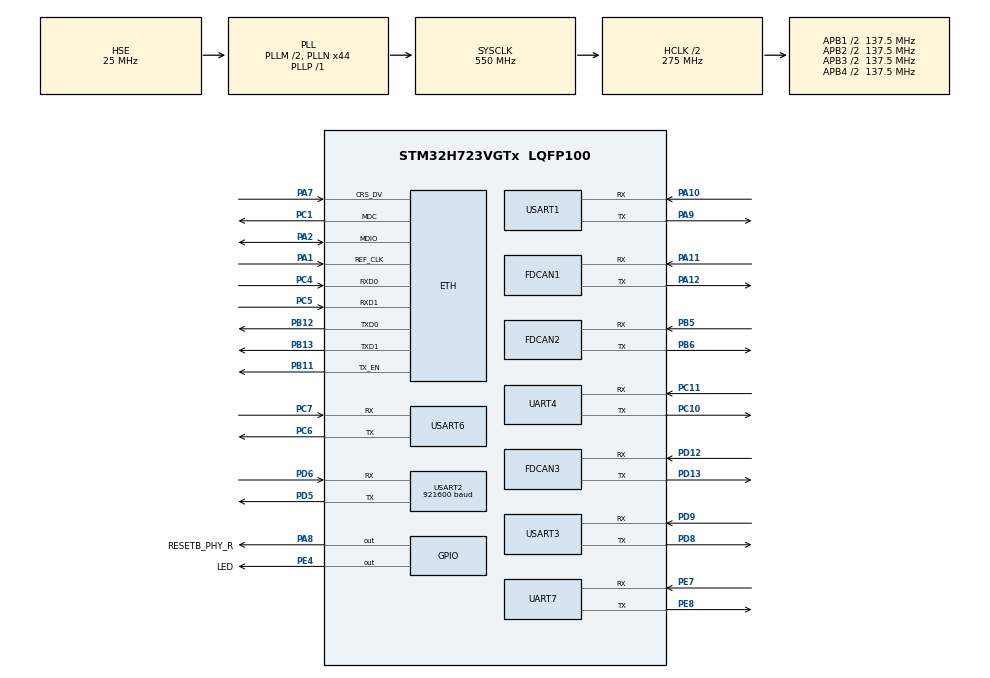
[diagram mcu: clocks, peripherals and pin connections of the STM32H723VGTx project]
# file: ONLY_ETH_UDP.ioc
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CORTEX_M7.AccessPermission_S-Cortex_Memory_Protection_Unit_Region1_Settings_S=MPU_REGION_FULL_ACCESS
CORTEX_M7.AccessPermission_Spec=MPU_REGION_FULL_ACCESS
CORTEX_M7.BaseAddress_S-Cortex_Memory_Protection_Unit_Region1_Settings_S=0x30004000
CORTEX_M7.BaseAddress_Spec=0x30000000
CORTEX_M7.CPU_DCache=Enabled
CORTEX_M7.CPU_ICache=Enabled
CORTEX_M7.DisableExec_S-Cortex_Memory_Protection_Unit_Region1_Settings_S=MPU_INSTRUCTION_ACCESS_ENABLE
CORTEX_M7.DisableExec_Spec=MPU_INSTRUCTION_ACCESS_ENABLE
CORTEX_M7.Enable_S-Cortex_Memory_Protection_Unit_Region1_Settings_S=MPU_REGION_ENABLE
CORTEX_M7.IsBufferable_S-Cortex_Memory_Protection_Unit_Region1_Settings_S=MPU_ACCESS_NOT_BUFFERABLE
CORTEX_M7.IsBufferable_Spec=MPU_ACCESS_BUFFERABLE
CORTEX_M7.IsCacheable_S-Cortex_Memory_Protection_Unit_Region1_Settings_S=MPU_ACCESS_NOT_CACHEABLE
CORTEX_M7.IsCacheable_Spec=MPU_ACCESS_NOT_CACHEABLE
CORTEX_M7.IsShareable_S-Cortex_Memory_Protection_Unit_Region1_Settings_S=MPU_ACCESS_SHAREABLE
CORTEX_M7.IsShareable_Spec=MPU_ACCESS_NOT_SHAREABLE
CORTEX_M7.MPU_Control=MPU_HFNMI_PRIVDEF
CORTEX_M7.Size_S-Cortex_Memory_Protection_Unit_Region1_Settings_S=MPU_REGION_SIZE_16KB
CORTEX_M7.Size_Spec=MPU_REGION_SIZE_256B
CORTEX_M7.SubRegionDisable_Spec=0x00
CORTEX_M7.TypeExtField_S-Cortex_Memory_Protection_Unit_Region1_Settings_S=MPU_TEX_LEVEL1
CORTEX_M7.TypeExtField_Spec=MPU_TEX_LEVEL0
CORTEX_M7.default_mode_Activation=1
Dma.Request0=USART1_RX
Dma.Request1=USART1_TX
Dma.Request10=UART7_RX
Dma.Request11=UART7_TX
Dma.Request2=USART2_RX
Dma.Request3=USART2_TX
Dma.Request4=USART3_RX
Dma.Request5=USART3_TX
Dma.Request6=USART6_RX
Dma.Request7=USART6_TX
Dma.Request8=UART4_RX
Dma.Request9=UART4_TX
Dma.UART4_RX.8.Direction=DMA_PERIPH_TO_MEMORY
Dma.UART4_RX.8.EventEnable=DISABLE
Dma.UART4_RX.8.FIFOMode=DMA_FIFOMODE_DISABLE
Dma.UART4_RX.8.Instance=DMA2_Stream0
Dma.UART4_RX.8.MemDataAlignment=DMA_MDATAALIGN_BYTE
Dma.UART4_RX.8.MemInc=DMA_MINC_ENABLE
Dma.UART4_RX.8.Mode=DMA_NORMAL
Dma.UART4_RX.8.PeriphDataAlignment=DMA_PDATAALIGN_BYTE
Dma.UART4_RX.8.PeriphInc=DMA_PINC_DISABLE
Dma.UART4_RX.8.Polarity=HAL_DMAMUX_REQ_GEN_RISING
Dma.UART4_RX.8.Priority=DMA_PRIORITY_LOW
Dma.UART4_RX.8.RequestNumber=1
Dma.UART4_RX.8.SignalID=NONE
Dma.UART4_RX.8.SyncEnable=DISABLE
Dma.UART4_RX.8.SyncPolarity=HAL_DMAMUX_SYNC_NO_EVENT
Dma.UART4_RX.8.SyncRequestNumber=1
Dma.UART4_RX.8.SyncSignalID=NONE
Dma.UART4_TX.9.Direction=DMA_MEMORY_TO_PERIPH
Dma.UART4_TX.9.EventEnable=DISABLE
Dma.UART4_TX.9.FIFOMode=DMA_FIFOMODE_DISABLE
Dma.UART4_TX.9.Instance=DMA2_Stream1
Dma.UART4_TX.9.MemDataAlignment=DMA_MDATAALIGN_BYTE
Dma.UART4_TX.9.MemInc=DMA_MINC_ENABLE
Dma.UART4_TX.9.Mode=DMA_NORMAL
Dma.UART4_TX.9.PeriphDataAlignment=DMA_PDATAALIGN_BYTE
Dma.UART4_TX.9.PeriphInc=DMA_PINC_DISABLE
Dma.UART4_TX.9.Polarity=HAL_DMAMUX_REQ_GEN_RISING
Dma.UART4_TX.9.Priority=DMA_PRIORITY_LOW
Dma.UART4_TX.9.RequestNumber=1
Dma.UART4_TX.9.SignalID=NONE
Dma.UART4_TX.9.SyncEnable=DISABLE
Dma.UART4_TX.9.SyncPolarity=HAL_DMAMUX_SYNC_NO_EVENT
Dma.UART4_TX.9.SyncRequestNumber=1
Dma.UART4_TX.9.SyncSignalID=NONE
Dma.UART7_RX.10.Direction=DMA_PERIPH_TO_MEMORY
Dma.UART7_RX.10.EventEnable=DISABLE
Dma.UART7_RX.10.FIFOMode=DMA_FIFOMODE_DISABLE
Dma.UART7_RX.10.Instance=DMA2_Stream2
Dma.UART7_RX.10.MemDataAlignment=DMA_MDATAALIGN_BYTE
Dma.UART7_RX.10.MemInc=DMA_MINC_ENABLE
Dma.UART7_RX.10.Mode=DMA_NORMAL
Dma.UART7_RX.10.PeriphDataAlignment=DMA_PDATAALIGN_BYTE
Dma.UART7_RX.10.PeriphInc=DMA_PINC_DISABLE
Dma.UART7_RX.10.Polarity=HAL_DMAMUX_REQ_GEN_RISING
Dma.UART7_RX.10.Priority=DMA_PRIORITY_LOW
Dma.UART7_RX.10.RequestNumber=1
Dma.UART7_RX.10.SignalID=NONE
Dma.UART7_RX.10.SyncEnable=DISABLE
Dma.UART7_RX.10.SyncPolarity=HAL_DMAMUX_SYNC_NO_EVENT
Dma.UART7_RX.10.SyncRequestNumber=1
Dma.UART7_RX.10.SyncSignalID=NONE
Dma.UART7_TX.11.Direction=DMA_MEMORY_TO_PERIPH
Dma.UART7_TX.11.EventEnable=DISABLE
Dma.UART7_TX.11.FIFOMode=DMA_FIFOMODE_DISABLE
Dma.UART7_TX.11.Instance=DMA2_Stream3
Dma.UART7_TX.11.MemDataAlignment=DMA_MDATAALIGN_BYTE
Dma.UART7_TX.11.MemInc=DMA_MINC_ENABLE
Dma.UART7_TX.11.Mode=DMA_NORMAL
Dma.UART7_TX.11.PeriphDataAlignment=DMA_PDATAALIGN_BYTE
Dma.UART7_TX.11.PeriphInc=DMA_PINC_DISABLE
Dma.UART7_TX.11.Polarity=HAL_DMAMUX_REQ_GEN_RISING
Dma.UART7_TX.11.Priority=DMA_PRIORITY_LOW
Dma.UART7_TX.11.RequestNumber=1
Dma.UART7_TX.11.SignalID=NONE
Dma.UART7_TX.11.SyncEnable=DISABLE
Dma.UART7_TX.11.SyncPolarity=HAL_DMAMUX_SYNC_NO_EVENT
Dma.UART7_TX.11.SyncRequestNumber=1
Dma.UART7_TX.11.SyncSignalID=NONE
Dma.USART1_RX.0.Direction=DMA_PERIPH_TO_MEMORY
Dma.USART1_RX.0.EventEnable=DISABLE
Dma.USART1_RX.0.FIFOMode=DMA_FIFOMODE_DISABLE
Dma.USART1_RX.0.Instance=DMA1_Stream0
Dma.USART1_RX.0.MemDataAlignment=DMA_MDATAALIGN_BYTE
Dma.USART1_RX.0.MemInc=DMA_MINC_ENABLE
Dma.USART1_RX.0.Mode=DMA_NORMAL
Dma.USART1_RX.0.PeriphDataAlignment=DMA_PDATAALIGN_BYTE
Dma.USART1_RX.0.PeriphInc=DMA_PINC_DISABLE
Dma.USART1_RX.0.Polarity=HAL_DMAMUX_REQ_GEN_RISING
Dma.USART1_RX.0.Priority=DMA_PRIORITY_LOW
Dma.USART1_RX.0.RequestNumber=1
Dma.USART1_RX.0.SignalID=NONE
Dma.USART1_RX.0.SyncEnable=DISABLE
Dma.USART1_RX.0.SyncPolarity=HAL_DMAMUX_SYNC_NO_EVENT
Dma.USART1_RX.0.SyncRequestNumber=1
Dma.USART1_RX.0.SyncSignalID=NONE
Dma.USART1_TX.1.Direction=DMA_MEMORY_TO_PERIPH
Dma.USART1_TX.1.EventEnable=DISABLE
Dma.USART1_TX.1.FIFOMode=DMA_FIFOMODE_DISABLE
Dma.USART1_TX.1.Instance=DMA1_Stream1
Dma.USART1_TX.1.MemDataAlignment=DMA_MDATAALIGN_BYTE
Dma.USART1_TX.1.MemInc=DMA_MINC_ENABLE
Dma.USART1_TX.1.Mode=DMA_NORMAL
Dma.USART1_TX.1.PeriphDataAlignment=DMA_PDATAALIGN_BYTE
Dma.USART1_TX.1.PeriphInc=DMA_PINC_DISABLE
Dma.USART1_TX.1.Polarity=HAL_DMAMUX_REQ_GEN_RISING
Dma.USART1_TX.1.Priority=DMA_PRIORITY_LOW
Dma.USART1_TX.1.RequestNumber=1
Dma.USART1_TX.1.SignalID=NONE
Dma.USART1_TX.1.SyncEnable=DISABLE
Dma.USART1_TX.1.SyncPolarity=HAL_DMAMUX_SYNC_NO_EVENT
Dma.USART1_TX.1.SyncRequestNumber=1
Dma.USART1_TX.1.SyncSignalID=NONE
Dma.USART2_RX.2.Direction=DMA_PERIPH_TO_MEMORY
Dma.USART2_RX.2.EventEnable=DISABLE
Dma.USART2_RX.2.FIFOMode=DMA_FIFOMODE_DISABLE
Dma.USART2_RX.2.Instance=DMA1_Stream2
Dma.USART2_RX.2.MemDataAlignment=DMA_MDATAALIGN_BYTE
Dma.USART2_RX.2.MemInc=DMA_MINC_ENABLE
Dma.USART2_RX.2.Mode=DMA_NORMAL
Dma.USART2_RX.2.PeriphDataAlignment=DMA_PDATAALIGN_BYTE
Dma.USART2_RX.2.PeriphInc=DMA_PINC_DISABLE
Dma.USART2_RX.2.Polarity=HAL_DMAMUX_REQ_GEN_RISING
Dma.USART2_RX.2.Priority=DMA_PRIORITY_LOW
Dma.USART2_RX.2.RequestNumber=1
Dma.USART2_RX.2.SignalID=NONE
Dma.USART2_RX.2.SyncEnable=DISABLE
Dma.USART2_RX.2.SyncPolarity=HAL_DMAMUX_SYNC_NO_EVENT
Dma.USART2_RX.2.SyncRequestNumber=1
Dma.USART2_RX.2.SyncSignalID=NONE
Dma.USART2_TX.3.Direction=DMA_MEMORY_TO_PERIPH
Dma.USART2_TX.3.EventEnable=DISABLE
Dma.USART2_TX.3.FIFOMode=DMA_FIFOMODE_DISABLE
Dma.USART2_TX.3.Instance=DMA1_Stream3
Dma.USART2_TX.3.MemDataAlignment=DMA_MDATAALIGN_BYTE
Dma.USART2_TX.3.MemInc=DMA_MINC_ENABLE
Dma.USART2_TX.3.Mode=DMA_NORMAL
Dma.USART2_TX.3.PeriphDataAlignment=DMA_PDATAALIGN_BYTE
Dma.USART2_TX.3.PeriphInc=DMA_PINC_DISABLE
Dma.USART2_TX.3.Polarity=HAL_DMAMUX_REQ_GEN_RISING
Dma.USART2_TX.3.Priority=DMA_PRIORITY_LOW
Dma.USART2_TX.3.RequestNumber=1
Dma.USART2_TX.3.SignalID=NONE
Dma.USART2_TX.3.SyncEnable=DISABLE
Dma.USART2_TX.3.SyncPolarity=HAL_DMAMUX_SYNC_NO_EVENT
Dma.USART2_TX.3.SyncRequestNumber=1
Dma.USART2_TX.3.SyncSignalID=NONE
Dma.USART3_RX.4.Direction=DMA_PERIPH_TO_MEMORY
Dma.USART3_RX.4.EventEnable=DISABLE
Dma.USART3_RX.4.FIFOMode=DMA_FIFOMODE_DISABLE
Dma.USART3_RX.4.Instance=DMA1_Stream4
Dma.USART3_RX.4.MemDataAlignment=DMA_MDATAALIGN_BYTE
Dma.USART3_RX.4.MemInc=DMA_MINC_ENABLE
Dma.USART3_RX.4.Mode=DMA_NORMAL
Dma.USART3_RX.4.PeriphDataAlignment=DMA_PDATAALIGN_BYTE
Dma.USART3_RX.4.PeriphInc=DMA_PINC_DISABLE
Dma.USART3_RX.4.Polarity=HAL_DMAMUX_REQ_GEN_RISING
Dma.USART3_RX.4.Priority=DMA_PRIORITY_LOW
Dma.USART3_RX.4.RequestNumber=1
Dma.USART3_RX.4.SignalID=NONE
Dma.USART3_RX.4.SyncEnable=DISABLE
Dma.USART3_RX.4.SyncPolarity=HAL_DMAMUX_SYNC_NO_EVENT
Dma.USART3_RX.4.SyncRequestNumber=1
Dma.USART3_RX.4.SyncSignalID=NONE
Dma.USART3_TX.5.Direction=DMA_MEMORY_TO_PERIPH
Dma.USART3_TX.5.EventEnable=DISABLE
Dma.USART3_TX.5.FIFOMode=DMA_FIFOMODE_DISABLE
Dma.USART3_TX.5.Instance=DMA1_Stream5
Dma.USART3_TX.5.MemDataAlignment=DMA_MDATAALIGN_BYTE
Dma.USART3_TX.5.MemInc=DMA_MINC_ENABLE
Dma.USART3_TX.5.Mode=DMA_NORMAL
Dma.USART3_TX.5.PeriphDataAlignment=DMA_PDATAALIGN_BYTE
Dma.USART3_TX.5.PeriphInc=DMA_PINC_DISABLE
Dma.USART3_TX.5.Polarity=HAL_DMAMUX_REQ_GEN_RISING
Dma.USART3_TX.5.Priority=DMA_PRIORITY_LOW
Dma.USART3_TX.5.RequestNumber=1
Dma.USART3_TX.5.SignalID=NONE
Dma.USART3_TX.5.SyncEnable=DISABLE
Dma.USART3_TX.5.SyncPolarity=HAL_DMAMUX_SYNC_NO_EVENT
Dma.USART3_TX.5.SyncRequestNumber=1
Dma.USART3_TX.5.SyncSignalID=NONE
Dma.USART6_RX.6.Direction=DMA_PERIPH_TO_MEMORY
Dma.USART6_RX.6.EventEnable=DISABLE
Dma.USART6_RX.6.FIFOMode=DMA_FIFOMODE_DISABLE
Dma.USART6_RX.6.Instance=DMA1_Stream6
Dma.USART6_RX.6.MemDataAlignment=DMA_MDATAALIGN_BYTE
Dma.USART6_RX.6.MemInc=DMA_MINC_ENABLE
Dma.USART6_RX.6.Mode=DMA_NORMAL
Dma.USART6_RX.6.PeriphDataAlignment=DMA_PDATAALIGN_BYTE
Dma.USART6_RX.6.PeriphInc=DMA_PINC_DISABLE
Dma.USART6_RX.6.Polarity=HAL_DMAMUX_REQ_GEN_RISING
Dma.USART6_RX.6.Priority=DMA_PRIORITY_LOW
Dma.USART6_RX.6.RequestNumber=1
Dma.USART6_RX.6.SignalID=NONE
Dma.USART6_RX.6.SyncEnable=DISABLE
Dma.USART6_RX.6.SyncPolarity=HAL_DMAMUX_SYNC_NO_EVENT
Dma.USART6_RX.6.SyncRequestNumber=1
Dma.USART6_RX.6.SyncSignalID=NONE
Dma.USART6_TX.7.Direction=DMA_MEMORY_TO_PERIPH
Dma.USART6_TX.7.EventEnable=DISABLE
Dma.USART6_TX.7.FIFOMode=DMA_FIFOMODE_DISABLE
Dma.USART6_TX.7.Instance=DMA1_Stream7
Dma.USART6_TX.7.MemDataAlignment=DMA_MDATAALIGN_BYTE
Dma.USART6_TX.7.MemInc=DMA_MINC_ENABLE
Dma.USART6_TX.7.Mode=DMA_NORMAL
Dma.USART6_TX.7.PeriphDataAlignment=DMA_PDATAALIGN_BYTE
Dma.USART6_TX.7.PeriphInc=DMA_PINC_DISABLE
Dma.USART6_TX.7.Polarity=HAL_DMAMUX_REQ_GEN_RISING
Dma.USART6_TX.7.Priority=DMA_PRIORITY_LOW
Dma.USART6_TX.7.RequestNumber=1
Dma.USART6_TX.7.SignalID=NONE
Dma.USART6_TX.7.SyncEnable=DISABLE
Dma.USART6_TX.7.SyncPolarity=HAL_DMAMUX_SYNC_NO_EVENT
Dma.USART6_TX.7.SyncRequestNumber=1
Dma.USART6_TX.7.SyncSignalID=NONE
ETH.MACAddr=00\:80\:E1\:12\:34\:56
ETH.MediaInterface=HAL_ETH_RMII_MODE
ETH.RxBufferAddress=0x30000200
ETH.RxDescAddress=0x30000000
ETH.TxDescAddress=0x30000060
FDCAN1.AutoRetransmission=ENABLE
FDCAN1.CalculateBaudRateNominal=1000000
FDCAN1.CalculateTimeBitNominal=1000
FDCAN1.CalculateTimeQuantumNominal=40.0
FDCAN1.DataSyncJumpWidth=6
FDCAN1.DataTimeSeg1=18
FDCAN1.DataTimeSeg2=6
FDCAN1.NominalPrescaler=1
FDCAN1.NominalSyncJumpWidth=6
FDCAN1.NominalTimeSeg1=18
FDCAN1.NominalTimeSeg2=6
FDCAN1.RxFifo0ElmtsNbr=4
FDCAN1.StdFiltersNbr=1
FDCAN1.TxBuffersNbr=16
FDCAN1.TxFifoQueueElmtsNbr=16
FDCAN2.AutoRetransmission=ENABLE
FDCAN2.CalculateBaudRateNominal=1000000
FDCAN2.CalculateTimeBitNominal=1000
FDCAN2.CalculateTimeQuantumNominal=40.0
FDCAN2.DataSyncJumpWidth=6
FDCAN2.DataTimeSeg1=18
FDCAN2.DataTimeSeg2=6
FDCAN2.MessageRAMOffset=800
FDCAN2.NominalPrescaler=1
FDCAN2.NominalSyncJumpWidth=6
FDCAN2.NominalTimeSeg1=18
FDCAN2.NominalTimeSeg2=6
FDCAN2.RxFifo0ElmtsNbr=4
FDCAN2.StdFiltersNbr=1
FDCAN2.TxBuffersNbr=16
FDCAN2.TxFifoQueueElmtsNbr=16
FDCAN3.AutoRetransmission=ENABLE
FDCAN3.CalculateBaudRateNominal=1000000
FDCAN3.CalculateTimeBitNominal=1000
FDCAN3.CalculateTimeQuantumNominal=40.0
FDCAN3.DataSyncJumpWidth=6
FDCAN3.DataTimeSeg1=18
FDCAN3.DataTimeSeg2=6
FDCAN3.MessageRAMOffset=1600
FDCAN3.NominalPrescaler=1
FDCAN3.NominalSyncJumpWidth=6
FDCAN3.NominalTimeSeg1=18
FDCAN3.NominalTimeSeg2=6
FDCAN3.RxFifo0ElmtsNbr=4
FDCAN3.StdFiltersNbr=1
FDCAN3.TxBuffersNbr=16
FDCAN3.TxFifoQueueElmtsNbr=16
FREERTOS.HEAP_NUMBER=4
FREERTOS.Tasks01=Task1,0,3840,task1,Default,NULL,Dynamic,NULL,NULL;Task2,-2,1024,task2,Default,NULL,Dynamic,NULL,NULL;Task3,-2,1024,task3,Default,NULL,Dynamic,NULL,NULL
FREERTOS.configCHECK_FOR_STACK_OVERFLOW=2
FREERTOS.configTOTAL_HEAP_SIZE=40960
LWIP.BSP.number=1
LWIP.ETH_PAD_SIZE=0
LWIP.ETH_RX_BUFFER_CNT=16
LWIP.GATEWAY_ADDRESS=192.168.000.001
LWIP.IP_ADDRESS=192.168.010.002
LWIP.LWIP_DHCP=0
LWIP.LWIP_SNTP=1
LWIP.MEMP_MEM_MALLOC=0
LWIP.NETMASK_ADDRESS=255.255.255.000
LWIP.PBUF_POOL_BUFSIZE=1536
LWIP.PBUF_POOL_SIZE=16
LWIP.SYS_LIGHTWEIGHT_PROT=0
LWIP.Version=v2.1.2_Cube
LWIP0.BSP.STBoard=false
LWIP0.BSP.api=BSP_COMPONENT_DRIVER
LWIP0.BSP.component=LAN8742
LWIP0.BSP.instance=LAN8742
LWIP0.BSP.name=Driver_PHY
LWIP0.BSP.semaphore=S_LAN8742
LWIP0.BSP.solution=LAN8742
Mcu.Family=STM32H7
Mcu.Name=STM32H723VGTx
Mcu.Package=LQFP100
NVIC.DMA1_Stream0_IRQn=true\:5\:0\:false\:false\:true\:true\:false\:true\:true
NVIC.DMA1_Stream1_IRQn=true\:5\:0\:false\:false\:true\:true\:false\:true\:true
NVIC.DMA1_Stream2_IRQn=true\:5\:0\:false\:false\:true\:true\:false\:true\:true
NVIC.DMA1_Stream3_IRQn=true\:5\:0\:false\:false\:true\:true\:false\:true\:true
NVIC.DMA1_Stream4_IRQn=true\:5\:0\:false\:false\:true\:true\:false\:true\:true
NVIC.DMA1_Stream5_IRQn=true\:5\:0\:false\:false\:true\:true\:false\:true\:true
NVIC.DMA1_Stream6_IRQn=true\:5\:0\:false\:false\:true\:true\:false\:true\:true
NVIC.DMA1_Stream7_IRQn=true\:5\:0\:false\:false\:true\:true\:false\:true\:true
NVIC.DMA2_Stream0_IRQn=true\:5\:0\:false\:false\:true\:true\:false\:true\:true
NVIC.DMA2_Stream1_IRQn=true\:5\:0\:false\:false\:true\:true\:false\:true\:true
NVIC.DMA2_Stream2_IRQn=true\:5\:0\:false\:false\:true\:true\:false\:true\:true
NVIC.DMA2_Stream3_IRQn=true\:5\:0\:false\:false\:true\:true\:false\:true\:true
NVIC.ETH_IRQn=true\:5\:0\:false\:false\:true\:true\:true\:true\:true
NVIC.FDCAN1_IT0_IRQn=true\:5\:0\:false\:false\:true\:true\:true\:true\:true
NVIC.FDCAN2_IT0_IRQn=true\:5\:0\:false\:false\:true\:true\:true\:true\:true
NVIC.FDCAN3_IT0_IRQn=true\:5\:0\:false\:false\:true\:true\:true\:true\:true
NVIC.PriorityGroup=NVIC_PRIORITYGROUP_4
NVIC.TIM2_IRQn=true\:5\:0\:false\:false\:true\:true\:true\:true\:true
NVIC.TIM6_DAC_IRQn=true\:15\:0\:false\:false\:true\:false\:false\:true\:true
NVIC.TimeBase=TIM6_DAC_IRQn
NVIC.TimeBaseIP=TIM6
NVIC.UART4_IRQn=true\:5\:0\:false\:false\:true\:true\:true\:true\:true
NVIC.UART7_IRQn=true\:5\:0\:false\:false\:true\:true\:true\:true\:true
NVIC.USART1_IRQn=true\:5\:0\:false\:false\:true\:true\:true\:true\:true
NVIC.USART2_IRQn=true\:5\:0\:false\:false\:true\:true\:true\:true\:true
NVIC.USART3_IRQn=true\:5\:0\:false\:false\:true\:true\:true\:true\:true
NVIC.USART6_IRQn=true\:5\:0\:false\:false\:true\:true\:true\:true\:true
PA1.GPIO_Speed_Default_HIGH=GPIO_SPEED_FREQ_VERY_HIGH
PA1.Mode=RMII
PA1.Signal=ETH_REF_CLK
PA10.GPIO_Speed=GPIO_SPEED_FREQ_VERY_HIGH
PA10.Mode=Asynchronous
PA10.Signal=USART1_RX
PA11.GPIO_Speed=GPIO_SPEED_FREQ_VERY_HIGH
PA11.Mode=FDCAN_Activate
PA11.Signal=FDCAN1_RX
PA12.GPIO_Speed=GPIO_SPEED_FREQ_VERY_HIGH
PA12.Mode=FDCAN_Activate
PA12.Signal=FDCAN1_TX
PA13(JTMS/SWDIO).Mode=Serial_Wire
PA13(JTMS/SWDIO).Signal=DEBUG_JTMS-SWDIO
PA14(JTCK/SWCLK).Mode=Serial_Wire
PA14(JTCK/SWCLK).Signal=DEBUG_JTCK-SWCLK
PA2.GPIO_Speed_Default_HIGH=GPIO_SPEED_FREQ_VERY_HIGH
PA2.Mode=RMII
PA2.Signal=ETH_MDIO
PA7.GPIO_Speed_Default_HIGH=GPIO_SPEED_FREQ_VERY_HIGH
PA7.Mode=RMII
PA7.Signal=ETH_CRS_DV
PA8.GPIO_Label=RESETB_PHY_R
PA8.PinState=GPIO_PIN_SET
PA8.Signal=GPIO_Output
PA9.GPIO_Speed=GPIO_SPEED_FREQ_VERY_HIGH
PA9.Mode=Asynchronous
PA9.Signal=USART1_TX
PB11.GPIO_Speed_Default_HIGH=GPIO_SPEED_FREQ_VERY_HIGH
PB11.Mode=RMII
PB11.Signal=ETH_TX_EN
PB12.GPIO_Speed_Default_HIGH=GPIO_SPEED_FREQ_VERY_HIGH
PB12.Mode=RMII
PB12.Signal=ETH_TXD0
PB13.GPIO_Speed_Default_HIGH=GPIO_SPEED_FREQ_VERY_HIGH
PB13.Mode=RMII
PB13.Signal=ETH_TXD1
PB5.GPIO_Speed=GPIO_SPEED_FREQ_VERY_HIGH
PB5.Mode=FDCAN_Activate
PB5.Signal=FDCAN2_RX
PB6.GPIO_Speed=GPIO_SPEED_FREQ_VERY_HIGH
PB6.Mode=FDCAN_Activate
PB6.Signal=FDCAN2_TX
PC1.GPIO_Speed_Default_HIGH=GPIO_SPEED_FREQ_VERY_HIGH
PC1.Mode=RMII
PC1.Signal=ETH_MDC
PC10.GPIO_Speed=GPIO_SPEED_FREQ_VERY_HIGH
PC10.Mode=Asynchronous
PC10.Signal=UART4_TX
PC11.GPIO_Speed=GPIO_SPEED_FREQ_VERY_HIGH
PC11.Mode=Asynchronous
PC11.Signal=UART4_RX
PC4.GPIO_Speed_Default_HIGH=GPIO_SPEED_FREQ_VERY_HIGH
PC4.Mode=RMII
PC4.Signal=ETH_RXD0
PC5.GPIO_Speed_Default_HIGH=GPIO_SPEED_FREQ_VERY_HIGH
PC5.Mode=RMII
PC5.Signal=ETH_RXD1
PC6.GPIO_Speed=GPIO_SPEED_FREQ_VERY_HIGH
PC6.Mode=Asynchronous
PC6.Signal=USART6_TX
PC7.GPIO_Speed=GPIO_SPEED_FREQ_VERY_HIGH
PC7.Mode=Asynchronous
PC7.Signal=USART6_RX
PD12.GPIO_Speed=GPIO_SPEED_FREQ_VERY_HIGH
PD12.Mode=FDCAN_Activate
PD12.Signal=FDCAN3_RX
PD13.GPIO_Speed=GPIO_SPEED_FREQ_VERY_HIGH
PD13.Mode=FDCAN_Activate
PD13.Signal=FDCAN3_TX
PD5.GPIO_Speed=GPIO_SPEED_FREQ_VERY_HIGH
PD5.Mode=Asynchronous
PD5.Signal=USART2_TX
PD6.GPIO_Speed=GPIO_SPEED_FREQ_VERY_HIGH
PD6.Mode=Asynchronous
PD6.Signal=USART2_RX
PD8.GPIO_Speed=GPIO_SPEED_FREQ_VERY_HIGH
PD8.Mode=Asynchronous
PD8.Signal=USART3_TX
PD9.GPIO_Speed=GPIO_SPEED_FREQ_VERY_HIGH
PD9.Mode=Asynchronous
PD9.Signal=USART3_RX
PE4.GPIO_Label=LED 
PE4.Signal=GPIO_Output
PE7.GPIO_Speed=GPIO_SPEED_FREQ_VERY_HIGH
PE7.Mode=Asynchronous
PE7.Signal=UART7_RX
PE8.GPIO_Speed=GPIO_SPEED_FREQ_VERY_HIGH
PE8.Mode=Asynchronous
PE8.Signal=UART7_TX
PH0-OSC_IN.Mode=HSE-External-Oscillator
PH0-OSC_IN.Signal=RCC_OSC_IN
PH1-OSC_OUT.Mode=HSE-External-Oscillator
PH1-OSC_OUT.Signal=RCC_OSC_OUT
ProjectManager.HeapSize=0x800
ProjectManager.StackSize=0x800
ProjectManager.TargetToolchain=MDK-ARM V5.32
RCC.ADCFreq_Value=50390625
RCC.APB1Freq_Value=137500000
RCC.APB2Freq_Value=137500000
RCC.APB3Freq_Value=137500000
RCC.APB4Freq_Value=137500000
RCC.CortexFreq_Value=550000000
RCC.D1PPRE=RCC_APB3_DIV2
RCC.D2PPRE1=RCC_APB1_DIV2
RCC.D2PPRE2=RCC_APB2_DIV2
RCC.D3PPRE=RCC_APB4_DIV2
RCC.DIVM1=2
RCC.DIVN1=44
RCC.DIVP1=1
RCC.FDCANCLockSelection=RCC_FDCANCLKSOURCE_HSE
RCC.HCLKFreq_Value=275000000
RCC.HPRE=RCC_HCLK_DIV2
RCC.HSE_Timout=200
RCC.PLL2FRACN=0
RCC.PLL3FRACN=0
RCC.PLLFRACN=0
RCC.PLLSourceVirtual=RCC_PLLSOURCE_HSE
RCC.SYSCLKFreq_VALUE=550000000
RCC.SYSCLKSource=RCC_SYSCLKSOURCE_PLLCLK
RCC.USBFreq_Value=275000000
TIM2.Period=999
TIM2.Prescaler=274
USART1.VirtualMode-Asynchronous=VM_ASYNC
USART2.BaudRate=921600
USART2.VirtualMode-Asynchronous=VM_ASYNC
USART3.VirtualMode-Asynchronous=VM_ASYNC
USART6.VirtualMode=VM_ASYNC
VP_FREERTOS_VS_CMSIS_V1.Mode=CMSIS_V1
VP_LWIP_VS_Enabled.Mode=Enabled
VP_MEMORYMAP_VS_MEMORYMAP.Mode=CurAppReg
VP_SYS_VS_tim6.Mode=TIM6
VP_TIM2_VS_ClockSourceINT.Mode=Internal
board=custom

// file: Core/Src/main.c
/* USER CODE BEGIN Header */
/**
  ******************************************************************************
  * @file           : main.c
  * @brief          : Main program body
  ******************************************************************************
  * @attention
  *
  * Copyright (c) 2026 STMicroelectronics.
  * All rights reserved.
  *
  * This software is licensed under terms that can be found in the LICENSE file
  * in the root directory of this software component.
  * If no LICENSE file comes with this software, it is provided AS-IS.
  *
  ******************************************************************************
  */
/* USER CODE END Header */
#include "main.h"
#include "cmsis_os.h"
#include "dma.h"
#include "fdcan.h"
#include "lwip.h"
#include "tim.h"
#include "usart.h"
#include "gpio.h"

/* USER CODE BEGIN Includes */
#include "Lwip_UDP.h"
#include "stdio.h"
#include "global_declare.h"
#include "can_bsp.h"
/* USER CODE END Includes */

void SystemClock_Config(void);
static void MPU_Config(void);
void MX_FREERTOS_Init(void);

int main(void)
{

  /* MPU Configuration--------------------------------------------------------*/
  MPU_Config();

  /* Enable the CPU Cache */

  /* Enable I-Cache---------------------------------------------------------*/
  SCB_EnableICache();

  /* Enable D-Cache---------------------------------------------------------*/
  SCB_EnableDCache();

  /* MCU Configuration--------------------------------------------------------*/

  /* Reset of all peripherals, Initializes the Flash interface and the Systick. */
  HAL_Init();

  /* USER CODE BEGIN Init */
	HAL_GPIO_WritePin(RESETB_PHY_R_GPIO_Port, RESETB_PHY_R_Pin, GPIO_PIN_RESET);
	HAL_Delay (100);
	HAL_GPIO_WritePin(RESETB_PHY_R_GPIO_Port, RESETB_PHY_R_Pin, GPIO_PIN_SET);
	HAL_Delay (100);
  /* USER CODE END Init */

  /* Configure the system clock */
  SystemClock_Config();

  /* USER CODE BEGIN SysInit */
  //SCB_DisableDCache();
	__HAL_RCC_D2SRAM1_CLK_ENABLE();
  /* USER CODE END SysInit */

  /* Initialize all configured peripherals */
  MX_GPIO_Init();
  MX_DMA_Init();
  MX_USART1_UART_Init();
  MX_FDCAN1_Init();
  MX_FDCAN2_Init();
  MX_FDCAN3_Init();
  MX_USART2_UART_Init();
  MX_USART3_UART_Init();
  MX_USART6_UART_Init();
  MX_UART4_Init();
  MX_UART7_Init();
  MX_TIM2_Init();
  /* USER CODE BEGIN 2 */
  CAN_INIT();

  HAL_TIM_Base_Start_IT(&htim2);

  SCB_DisableDCache();
	HAL_GPIO_WritePin(LED_GPIO_Port,LED_Pin, GPIO_PIN_RESET);

	//udp_task_run();//
  /* USER CODE END 2 */

  /* Call init function for freertos objects (in cmsis_os2.c) */
  MX_FREERTOS_Init();

  /* Start scheduler */
  osKernelStart();

  /* We should never get here as control is now taken by the scheduler */

  /* Infinite loop */
  while (1)
  {

  }
}

void SystemClock_Config(void)
{
  RCC_OscInitTypeDef RCC_OscInitStruct = {0};
  RCC_ClkInitTypeDef RCC_ClkInitStruct = {0};

  /** Supply configuration update enable
  */
  HAL_PWREx_ConfigSupply(PWR_LDO_SUPPLY);

  /** Configure the main internal regulator output voltage
  */
  __HAL_PWR_VOLTAGESCALING_CONFIG(PWR_REGULATOR_VOLTAGE_SCALE0);

  while(!__HAL_PWR_GET_FLAG(PWR_FLAG_VOSRDY)) {}

  /** Initializes the RCC Oscillators according to the specified parameters
  * in the RCC_OscInitTypeDef structure.
  */
  RCC_OscInitStruct.OscillatorType = RCC_OSCILLATORTYPE_HSE;
  RCC_OscInitStruct.HSEState = RCC_HSE_ON;
  RCC_OscInitStruct.PLL.PLLState = RCC_PLL_ON;
  RCC_OscInitStruct.PLL.PLLSource = RCC_PLLSOURCE_HSE;
  RCC_OscInitStruct.PLL.PLLM = 2;
  RCC_OscInitStruct.PLL.PLLN = 44;
  RCC_OscInitStruct.PLL.PLLP = 1;
  RCC_OscInitStruct.PLL.PLLQ = 2;
  RCC_OscInitStruct.PLL.PLLR = 2;
  RCC_OscInitStruct.PLL.PLLRGE = RCC_PLL1VCIRANGE_3;
  RCC_OscInitStruct.PLL.PLLVCOSEL = RCC_PLL1VCOWIDE;
  RCC_OscInitStruct.PLL.PLLFRACN = 0;
  if (HAL_RCC_OscConfig(&RCC_OscInitStruct) != HAL_OK)
  {
    Error_Handler();
  }

  /** Initializes the CPU, AHB and APB buses clocks
  */
  RCC_ClkInitStruct.ClockType = RCC_CLOCKTYPE_HCLK|RCC_CLOCKTYPE_SYSCLK
                              |RCC_CLOCKTYPE_PCLK1|RCC_CLOCKTYPE_PCLK2
                              |RCC_CLOCKTYPE_D3PCLK1|RCC_CLOCKTYPE_D1PCLK1;
  RCC_ClkInitStruct.SYSCLKSource = RCC_SYSCLKSOURCE_PLLCLK;
  RCC_ClkInitStruct.SYSCLKDivider = RCC_SYSCLK_DIV1;
  RCC_ClkInitStruct.AHBCLKDivider = RCC_HCLK_DIV2;
  RCC_ClkInitStruct.APB3CLKDivider = RCC_APB3_DIV2;
  RCC_ClkInitStruct.APB1CLKDivider = RCC_APB1_DIV2;
  RCC_ClkInitStruct.APB2CLKDivider = RCC_APB2_DIV2;
  RCC_ClkInitStruct.APB4CLKDivider = RCC_APB4_DIV2;

  if (HAL_RCC_ClockConfig(&RCC_ClkInitStruct, FLASH_LATENCY_3) != HAL_OK)
  {
    Error_Handler();
  }
}

 /* MPU Configuration */

void MPU_Config(void)
{
  MPU_Region_InitTypeDef MPU_InitStruct = {0};

  /* Disables the MPU */
  HAL_MPU_Disable();

  /** Initializes and configures the Region and the memory to be protected
  */
  MPU_InitStruct.Enable = MPU_REGION_ENABLE;
  MPU_InitStruct.Number = MPU_REGION_NUMBER0;
  MPU_InitStruct.BaseAddress = 0x30000000;
  MPU_InitStruct.Size = MPU_REGION_SIZE_256B;
  MPU_InitStruct.SubRegionDisable = 0x00;
  MPU_InitStruct.TypeExtField = MPU_TEX_LEVEL0;
  MPU_InitStruct.AccessPermission = MPU_REGION_FULL_ACCESS;
  MPU_InitStruct.DisableExec = MPU_INSTRUCTION_ACCESS_ENABLE;
  MPU_InitStruct.IsShareable = MPU_ACCESS_NOT_SHAREABLE;
  MPU_InitStruct.IsCacheable = MPU_ACCESS_NOT_CACHEABLE;
  MPU_InitStruct.IsBufferable = MPU_ACCESS_BUFFERABLE;

  HAL_MPU_ConfigRegion(&MPU_InitStruct);

  /** Initializes and configures the Region and the memory to be protected
  */
  MPU_InitStruct.Number = MPU_REGION_NUMBER1;
  MPU_InitStruct.BaseAddress = 0x30004000;
  MPU_InitStruct.Size = MPU_REGION_SIZE_16KB;
  MPU_InitStruct.SubRegionDisable = 0x0;
  MPU_InitStruct.TypeExtField = MPU_TEX_LEVEL1;
  MPU_InitStruct.IsShareable = MPU_ACCESS_SHAREABLE;
  MPU_InitStruct.IsBufferable = MPU_ACCESS_NOT_BUFFERABLE;

  HAL_MPU_ConfigRegion(&MPU_InitStruct);
  /* Enables the MPU */
  HAL_MPU_Enable(MPU_HFNMI_PRIVDEF);

}

void HAL_TIM_PeriodElapsedCallback(TIM_HandleTypeDef *htim)
{
  if (htim->Instance == TIM6)
  {
    HAL_IncTick();
  }
}

void Error_Handler(void)
{
  __disable_irq();
  while (1)
  {
  }
}

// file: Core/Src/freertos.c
/* USER CODE BEGIN Header */
/**
 ******************************************************************************
 * File Name          : freertos.c
 * Description        : Code for freertos applications
 ******************************************************************************
 * @attention
 *
 * Copyright (c) 2026 STMicroelectronics.
 * All rights reserved.
 *
 * This software is licensed under terms that can be found in the LICENSE file
 * in the root directory of this software component.
 * If no LICENSE file comes with this software, it is provided AS-IS.
 *
 ******************************************************************************
 */
/* USER CODE END Header */

#include "FreeRTOS.h"
#include "task.h"
#include "main.h"
#include "cmsis_os.h"

/* USER CODE BEGIN Includes */
#include "Lwip_UDP.h"
#include "cmsis_os.h"
#include "udp_communication.h"
/* USER CODE END Includes */

/* USER CODE BEGIN PD */

extern ETH_HandleTypeDef heth;
// uint32_t dmasr = 0; // ��ȡ DMA ״̬�Ĵ���
// uint32_t dmarpus =0; // ��ȡ DMA ģʽ�Ĵ���

/* USER CODE END PD */

osThreadId Task1Handle;
osThreadId Task2Handle;
osThreadId Task3Handle;

void task1(void const *argument);
void task2(void const *argument);
void task3(void const *argument);

extern void MX_LWIP_Init(void);
void MX_FREERTOS_Init(void); /* (MISRA C 2004 rule 8.1) */

/* GetIdleTaskMemory prototype (linked to static allocation support) */
void vApplicationGetIdleTaskMemory(StaticTask_t **ppxIdleTaskTCBBuffer, StackType_t **ppxIdleTaskStackBuffer, uint32_t *pulIdleTaskStackSize);

/* Hook prototypes */
void vApplicationStackOverflowHook(xTaskHandle xTask, signed char *pcTaskName);

/* USER CODE BEGIN 4 */
__weak void vApplicationStackOverflowHook(xTaskHandle xTask, signed char *pcTaskName)
{
  /* Run time stack overflow checking is performed if
  configCHECK_FOR_STACK_OVERFLOW is defined to 1 or 2. This hook function is
  called if a stack overflow is detected. */
  /* Run time stack overflow checking is performed if
  configCHECK_FOR_STACK_OVERFLOW is defined to 1 or 2. This hook function is
  called if a stack overflow is detected. */

  /* ?????:???????? */
  __disable_irq(); /* ?????? */

  /* ??????,?? pcTaskName ?? */
  while (1)
  {
    /* ???????LED??,???? */
  }
}
/* USER CODE END 4 */

/* USER CODE BEGIN GET_IDLE_TASK_MEMORY */
static StaticTask_t xIdleTaskTCBBuffer;
static StackType_t xIdleStack[configMINIMAL_STACK_SIZE];

void vApplicationGetIdleTaskMemory(StaticTask_t **ppxIdleTaskTCBBuffer, StackType_t **ppxIdleTaskStackBuffer, uint32_t *pulIdleTaskStackSize)
{
  *ppxIdleTaskTCBBuffer = &xIdleTaskTCBBuffer;
  *ppxIdleTaskStackBuffer = &xIdleStack[0];
  *pulIdleTaskStackSize = configMINIMAL_STACK_SIZE;
  /* place for user code */
}
/* USER CODE END GET_IDLE_TASK_MEMORY */

void MX_FREERTOS_Init(void)
{

  /* Create the thread(s) */
  /* definition and creation of Task1 */
  osThreadDef(Task1, task1, osPriorityNormal, 0, 3840);
  Task1Handle = osThreadCreate(osThread(Task1), NULL);

  /* definition and creation of Task2 */
  osThreadDef(Task2, task2, osPriorityLow, 0, 1024);
  Task2Handle = osThreadCreate(osThread(Task2), NULL);

  /* definition and creation of Task3 */
  osThreadDef(Task3, task3, osPriorityLow, 0, 1024);
  Task3Handle = osThreadCreate(osThread(Task3), NULL);

}

void task1(void const *argument)
{
  /* init code for LWIP */
  MX_LWIP_Init();
  /* USER CODE BEGIN task1 */
  udp_task_init();
  /* Infinite loop */
  for (;;)
  {
    udp_pack();
    udp_send_data(UDP_tx_data, UDP_TX_BUFFER_SIZE);

    osDelay(1);
  }
  /* USER CODE END task1 */
}

void task2(void const *argument)
{
  for (;;)
  {
    osDelay(1);
  }
}

void task3(void const *argument)
{
  for (;;)
  {
    osDelay(1);
  }
}
